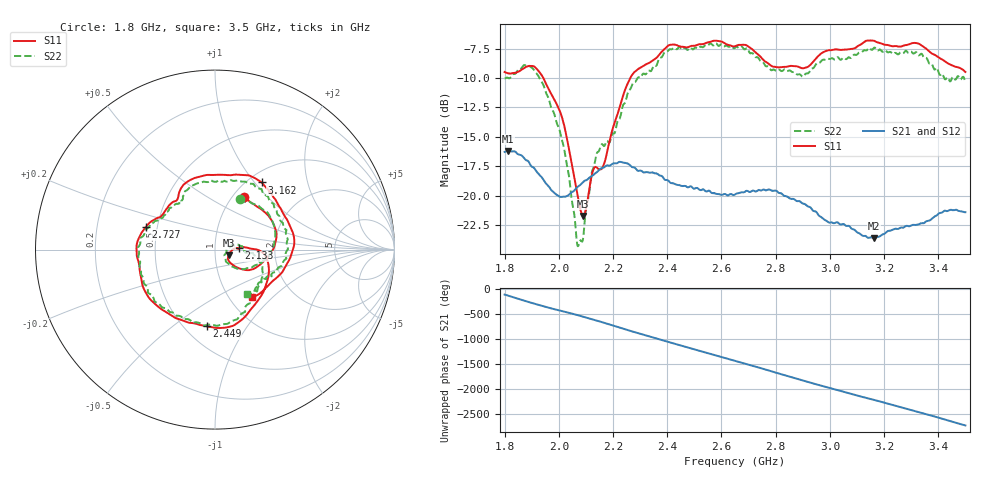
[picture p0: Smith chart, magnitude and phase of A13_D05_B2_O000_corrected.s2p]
! Created with skrf 1.9.0 (http://scikit-rf.org).
# Hz S RI R 50.0
!freq ReS11 ImS11 ReS21 ImS21 ReS12 ImS12 ReS22 ImS22
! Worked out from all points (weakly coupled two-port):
!   1601 points, 1.8 GHz to 3.5 GHz, reference 50 ohm
!   highest |S21| = -16.20 dB at 1.812 GHz (marker M1); lowest = -23.6 dB at 3.161 GHz (marker M2)
!   lowest |S11| = -21.7 dB at 2.09 GHz (marker M3), VSWR 1.18, Z = 58.1 - j3.61 ohm
!   |S11| at or under -10 dB: 1.943 GHz to 2.263 GHz (320.7 MHz wide, 15.2 % of centre)
!   |S22| runs from -24.3 to -7.1 dB; largest |S21 - S12| = 0.0029
!   S11 on the Smith chart (normalised r, x): 1.8 GHz: 1.13, +0.75; 2.133 GHz: 1.30, +0.02; 2.449 GHz: 0.64, -0.67; 2.727 GHz: 0.43, +0.13; 3.162 GHz: 1.15, +1.09; 3.5 GHz: 1.27, -0.76
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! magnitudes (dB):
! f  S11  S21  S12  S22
! 1.8 GHz  -9.5  -16.3  -16.3  -10.0
! 1.812 GHz  -9.6  -16.2  -16.2  -10.0
! 1.881 GHz  -9.0  -17.0  -17.0  -9.0
! 1.941 GHz  -9.9  -18.6  -18.6  -10.5
! 2.014 GHz  -13.5  -20.1  -20.1  -15.4
! 2.068 GHz  -19.8  -19.3  -19.3  -24.1
! 2.084 GHz  -21.5  -19.0  -19.0  -23.9
! 2.09 GHz  -21.7  -18.8  -18.9  -23.5
! 2.133 GHz  -17.6  -18.1  -18.1  -17.2
! 2.166 GHz  -17.4  -17.6  -17.6  -15.8
! 2.265 GHz  -9.9  -17.5  -17.5  -10.9
! 2.367 GHz  -8.1  -18.2  -18.2  -8.5
! 2.449 GHz  -7.3  -19.1  -19.1  -7.5
! 2.65 GHz  -7.3  -19.9  -19.9  -7.5
! 2.727 GHz  -7.8  -19.6  -19.6  -8.2
! 2.797 GHz  -9.1  -19.6  -19.6  -9.3
! 2.934 GHz  -8.7  -21.2  -21.1  -9.2
! 3.161 GHz  -6.8  -23.6  -23.5  -7.5
! 3.162 GHz  -6.8  -23.6  -23.5  -7.5
! 3.217 GHz  -7.2  -23.0  -23.0  -7.8
! 3.325 GHz  -7.1  -22.5  -22.4  -8.0
! 3.5 GHz  -9.5  -21.4  -21.4  -10.3
